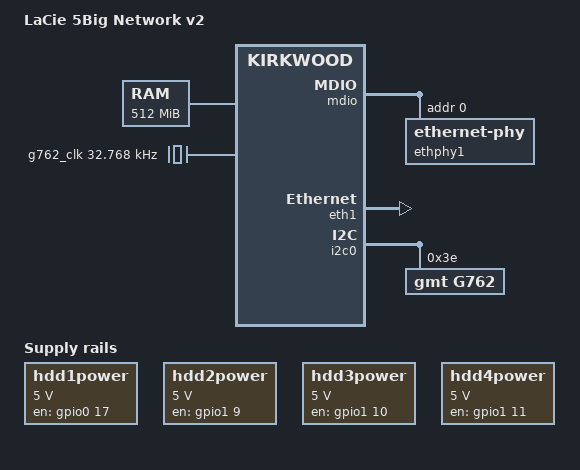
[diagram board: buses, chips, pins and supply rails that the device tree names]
// SPDX-License-Identifier: GPL-2.0
/*
 * Device Tree file for LaCie 5Big Network v2
 *
 * Copyright (C) 2014
 *
 * Andrew Lunn <andrew@lunn.ch>
 *
 * Based on netxbig_v2-setup.c,
 * Copyright (C) 2010 Simon Guinot <sguinot@lacie.com>
 *
*/

/dts-v1/;

#include "kirkwood.dtsi"
#include "kirkwood-6281.dtsi"
#include "kirkwood-netxbig.dtsi"

/ {
	model = "LaCie 5Big Network v2";
	compatible = "lacie,net5big_v2", "lacie,netxbig", "marvell,kirkwood-88f6281", "marvell,kirkwood";

	memory {
		device_type = "memory";
		reg = <0x00000000 0x20000000>;
	};

};

&regulators {
	regulator@2 {
		compatible = "regulator-fixed";
		reg = <2>;
		regulator-name = "hdd1power";
		regulator-min-microvolt = <5000000>;
		regulator-max-microvolt = <5000000>;
		enable-active-high;
		regulator-always-on;
		regulator-boot-on;
		gpio = <&gpio0 17 GPIO_ACTIVE_HIGH>;
	};

	regulator@3 {
		compatible = "regulator-fixed";
		reg = <3>;
		regulator-name = "hdd2power";
		regulator-min-microvolt = <5000000>;
		regulator-max-microvolt = <5000000>;
		enable-active-high;
		regulator-always-on;
		regulator-boot-on;
		gpio = <&gpio1 9 GPIO_ACTIVE_HIGH>;
	};

	regulator@4 {
		compatible = "regulator-fixed";
		reg = <4>;
		regulator-name = "hdd3power";
		regulator-min-microvolt = <5000000>;
		regulator-max-microvolt = <5000000>;
		enable-active-high;
		regulator-always-on;
		regulator-boot-on;
		gpio = <&gpio1 10 GPIO_ACTIVE_HIGH>;
	};

	regulator@5 {
		compatible = "regulator-fixed";
		reg = <5>;
		regulator-name = "hdd4power";
		regulator-min-microvolt = <5000000>;
		regulator-max-microvolt = <5000000>;
		enable-active-high;
		regulator-always-on;
		regulator-boot-on;
		gpio = <&gpio1 11 GPIO_ACTIVE_HIGH>;
	};

	clocks {
		g762_clk: g762-oscillator {
			compatible = "fixed-clock";
			#clock-cells = <0>;
			clock-frequency = <32768>;
		};
	};

	netxbig-leds {
		blue-sata2 {
			label = "netxbig:blue:sata2";
			mode-addr = <5>;
			mode-val = <NETXBIG_LED_OFF 0
				    NETXBIG_LED_ON 7
				    NETXBIG_LED_SATA 1
				    NETXBIG_LED_TIMER1 3>;
			bright-addr = <2>;
			max-brightness = <7>;
		};
		red-sata2 {
			label = "netxbig:red:sata2";
			mode-addr = <5>;
			mode-val = <NETXBIG_LED_OFF 0
				    NETXBIG_LED_ON 2
				    NETXBIG_LED_TIMER1 4>;
			bright-addr = <2>;
			max-brightness = <7>;
		};
		blue-sata3 {
			label = "netxbig:blue:sata3";
			mode-addr = <6>;
			mode-val = <NETXBIG_LED_OFF 0
				    NETXBIG_LED_ON 7
				    NETXBIG_LED_SATA 1
				    NETXBIG_LED_TIMER1 3>;
			bright-addr = <2>;
			max-brightness = <7>;
		};
		red-sata3 {
			label = "netxbig:red:sata3";
			mode-addr = <6>;
			mode-val = <NETXBIG_LED_OFF 0
				    NETXBIG_LED_ON 2
				    NETXBIG_LED_TIMER1 4>;
			bright-addr = <2>;
			max-brightness = <7>;
		};
		blue-sata4 {
			label = "netxbig:blue:sata4";
			mode-addr = <7>;
			mode-val = <NETXBIG_LED_OFF 0
				    NETXBIG_LED_ON 7
				    NETXBIG_LED_SATA 1
				    NETXBIG_LED_TIMER1 3>;
			bright-addr = <2>;
			max-brightness = <7>;
		};
		red-sata4 {
			label = "netxbig:red:sata4";
			mode-addr = <7>;
			mode-val = <NETXBIG_LED_OFF 0
				    NETXBIG_LED_ON 2
				    NETXBIG_LED_TIMER1 4>;
			bright-addr = <2>;
			max-brightness = <7>;
		};
	};
};

&mdio {
	ethphy1: ethernet-phy@1 {
		reg = <0>;
	};
};

&eth1 {
	status = "okay";
	ethernet1-port@0 {
		phy-handle = <&ethphy1>;
	};
};


&i2c0 {
	g762@3e {
		compatible = "gmt,g762";
		reg = <0x3e>;
		clocks = <&g762_clk>;
	};
};
